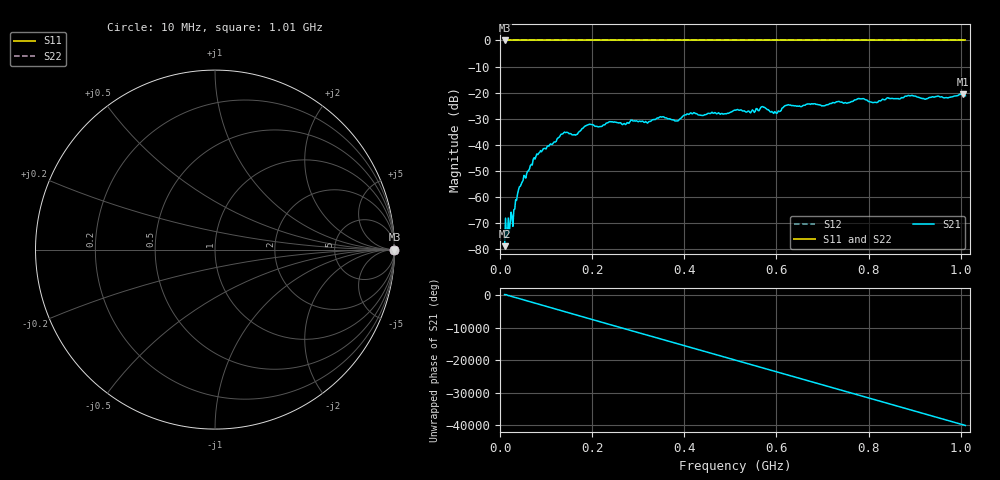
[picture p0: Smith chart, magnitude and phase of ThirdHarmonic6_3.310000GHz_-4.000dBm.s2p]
! 8/17/2025 10:20:31 AM
! C:\ANRITSUVNA\TEMP\TEMP.S2P
! CHANNEL.1
! TR.MEASUREMENT
! RAW.DATA
! RF.CORRECTION.OFF
! AVERAGING.OFF
! IF.BANDWIDTH: 5KHZ
! SWEEPTYPE:  FREQ.SWEEP(Linear)
! Reference Plane Port Info
! PORT:  PORT1  PORT2
! DISTANCE:  0  m  0  m
! TIME:  0  s  0  s
! PHASE.OFFSET:  0  deg.  0  deg.
! LOSS:  0  dB  0  dB
! REF.LOSS:  0  dB  0  dB
! REF.FREQ:  0  Hz  0  Hz
! Power Info
! POWER:  -20  dBm  -20  dBm
! EFF.POWER:  -20  dBm  -20  dBm
! SOURCE.ATTEN:  0  dB  0  dB
! TEST.ATTEN:  0  dB  0  dB
# GHZ S RI R 50.0
! FREQ.GHZ  S11RE  S11IM  S21RE  S21IM  S12RE  S12IM  S22RE  S22IM
!; PortSelection: Port_12
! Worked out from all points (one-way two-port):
!   501 points, 10 MHz to 1.01 GHz, reference 50 ohm
!   highest |S21| = -20.54 dB at 1.004 GHz (marker M1); lowest = -78.7 dB at 10 MHz (marker M2)
!   lowest |S11| = 0.0 dB at 10 MHz (marker M3)
!   |S11| at or under -10 dB: nowhere
!   |S22| runs from 0.0 to 0.0 dB; largest |S21 - S12| = 1.1
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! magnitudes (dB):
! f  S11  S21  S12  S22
! 10 MHz  0.0  -78.7  0.0  0.0
! 22 MHz  0.0  -70.2  0.0  0.0
! 24 MHz  0.0  -65.7  0.0  0.0
! 42 MHz  0.0  -56.0  0.0  0.0
! 76 MHz  0.0  -45.4  0.0  0.0
! 136 MHz  0.0  -35.8  0.0  0.0
! 164 MHz  0.0  -36.2  0.0  0.0
! 178 MHz  0.0  -33.8  0.0  0.0
! 194 MHz  0.0  -32.1  0.0  0.0
! 318 MHz  0.0  -31.3  0.0  0.0
! 344 MHz  0.0  -29.7  0.0  0.0
! 384 MHz  0.0  -30.8  0.0  0.0
! 410 MHz  0.0  -28.3  0.0  0.0
! 510 MHz  0.0  -26.7  0.0  0.0
! 540 MHz  0.0  -27.0  0.0  0.0
! 570 MHz  0.0  -25.3  0.0  0.0
! 598 MHz  0.0  -27.4  0.0  0.0
! 622 MHz  0.0  -24.8  0.0  0.0
! 678 MHz  0.0  -24.3  0.0  0.0
! 844 MHz  0.0  -22.1  0.0  0.0
! 1.004 GHz  0.0  -20.5  0.0  0.0
! 1.01 GHz  0.0  -21.2  0.0  0.0
